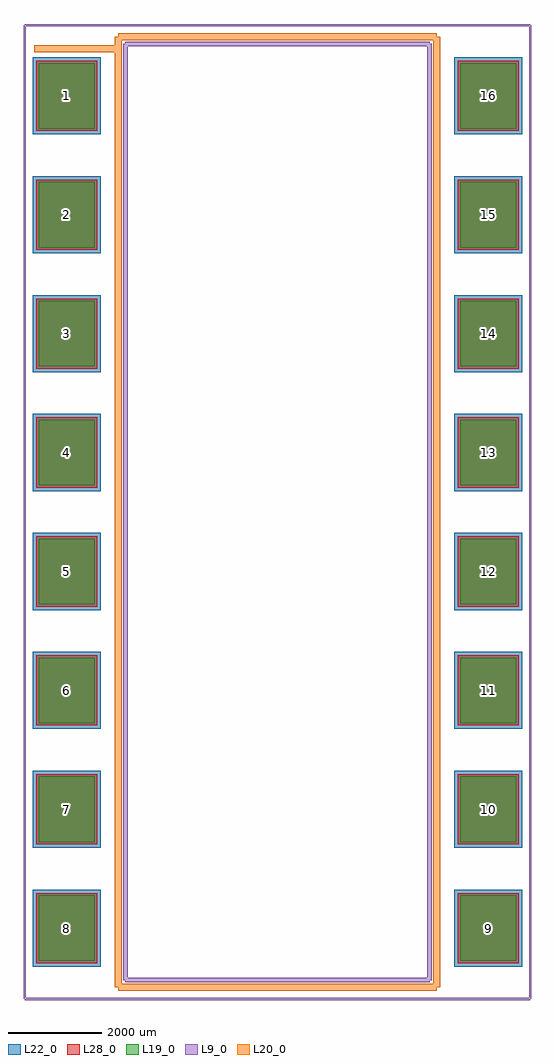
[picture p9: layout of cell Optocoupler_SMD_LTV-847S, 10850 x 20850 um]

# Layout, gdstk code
import gdstk
lib = gdstk.Library(unit=1e-6, precision=1e-09)
def R(c, l, rs):  # rectangles x0, y0, x1, y1
    for r in rs: c.add(gdstk.rectangle(r[:2], r[2:], *l))
def A(c, l, x, y, w, h, nx, ny, dx, dy):  # array of equal rectangles
    R(c, l, [(x+i*dx, y+j*dy, x+i*dx+w, y+j*dy+h) for i in range(nx) for j in range(ny)])
L9_0 = (9, 0)
L19_0 = (19, 0)
L20_0 = (20, 0)
L22_0 = (22, 0)
L28_0 = (28, 0)

optocoupler_smd_ltv_847s = lib.new_cell('Optocoupler_SMD_LTV-847S')
A(optocoupler_smd_ltv_847s, L19_0, -5100, -9590, 1200, 1400, 1, 8, 0, 2540)
A(optocoupler_smd_ltv_847s, L19_0, 3900, -9590, 1200, 1400, 1, 8, 0, 2540)
A(optocoupler_smd_ltv_847s, L22_0, -5225, -9715, 1450, 1650, 1, 8, 0, 2540)
A(optocoupler_smd_ltv_847s, L22_0, 3775, -9715, 1450, 1650, 1, 8, 0, 2540)
A(optocoupler_smd_ltv_847s, L28_0, -5150, -9640, 1300, 1500, 1, 8, 0, 2540)
A(optocoupler_smd_ltv_847s, L28_0, 3850, -9640, 1300, 1500, 1, 8, 0, 2540)
optocoupler_smd_ltv_847s.add(gdstk.FlexPath([(-3250,10000),(3250,10000)], 100, ends="flush", simple_path=True, layer=9, datatype=0))  # L9_0
optocoupler_smd_ltv_847s.add(gdstk.FlexPath([(3250,10000),(3250,-10000)], 100, ends="flush", simple_path=True, layer=9, datatype=0))  # L9_0
optocoupler_smd_ltv_847s.add(gdstk.FlexPath([(3250,-10000),(-3250,-10000)], 100, ends="flush", simple_path=True, layer=9, datatype=0))  # L9_0
optocoupler_smd_ltv_847s.add(gdstk.FlexPath([(-3250,-10000),(-3250,10000)], 100, ends="flush", simple_path=True, layer=9, datatype=0))  # L9_0
optocoupler_smd_ltv_847s.add(gdstk.FlexPath([(3400,10150),(-3400,10150)], 149.998, ends="flush", simple_path=True, layer=20, datatype=0))  # L20_0
optocoupler_smd_ltv_847s.add(gdstk.FlexPath([(3400,-10150),(-3400,-10150)], 149.998, ends="flush", simple_path=True, layer=20, datatype=0))  # L20_0
optocoupler_smd_ltv_847s.add(gdstk.FlexPath([(-3400,-10150),(-3400,10150)], 149.998, ends="flush", simple_path=True, layer=20, datatype=0))  # L20_0
optocoupler_smd_ltv_847s.add(gdstk.FlexPath([(3400,10150),(3400,-10150)], 149.998, ends="flush", simple_path=True, layer=20, datatype=0))  # L20_0
optocoupler_smd_ltv_847s.add(gdstk.FlexPath([(-5400,-10400),(5400,-10400)], 50, ends="flush", simple_path=True, layer=9, datatype=0))  # L9_0
optocoupler_smd_ltv_847s.add(gdstk.FlexPath([(5400,-10400),(5400,10400)], 50, ends="flush", simple_path=True, layer=9, datatype=0))  # L9_0
optocoupler_smd_ltv_847s.add(gdstk.FlexPath([(5400,10400),(-5400,10400)], 50, ends="flush", simple_path=True, layer=9, datatype=0))  # L9_0
optocoupler_smd_ltv_847s.add(gdstk.FlexPath([(-5400,10400),(-5400,-10400)], 50, ends="flush", simple_path=True, layer=9, datatype=0))  # L9_0
optocoupler_smd_ltv_847s.add(gdstk.FlexPath([(-3400,9900),(-5200,9900)], 149.998, ends="flush", simple_path=True, layer=20, datatype=0))  # L20_0
optocoupler_smd_ltv_847s.add(gdstk.Label('1', (-4500,8890), layer=28, texttype=0))
optocoupler_smd_ltv_847s.add(gdstk.Label('2', (-4500,6350), layer=28, texttype=0))
optocoupler_smd_ltv_847s.add(gdstk.Label('3', (-4500,3810), layer=28, texttype=0))
optocoupler_smd_ltv_847s.add(gdstk.Label('4', (-4500,1270), layer=28, texttype=0))
optocoupler_smd_ltv_847s.add(gdstk.Label('5', (-4500,-1270), layer=28, texttype=0))
optocoupler_smd_ltv_847s.add(gdstk.Label('6', (-4500,-3810), layer=28, texttype=0))
optocoupler_smd_ltv_847s.add(gdstk.Label('7', (-4500,-6350), layer=28, texttype=0))
optocoupler_smd_ltv_847s.add(gdstk.Label('8', (-4500,-8890), layer=28, texttype=0))
optocoupler_smd_ltv_847s.add(gdstk.Label('9', (4500,-8890), layer=28, texttype=0))
optocoupler_smd_ltv_847s.add(gdstk.Label('10', (4500,-6350), layer=28, texttype=0))
optocoupler_smd_ltv_847s.add(gdstk.Label('11', (4500,-3810), layer=28, texttype=0))
optocoupler_smd_ltv_847s.add(gdstk.Label('12', (4500,-1270), layer=28, texttype=0))
optocoupler_smd_ltv_847s.add(gdstk.Label('13', (4500,1270), layer=28, texttype=0))
optocoupler_smd_ltv_847s.add(gdstk.Label('14', (4500,3810), layer=28, texttype=0))
optocoupler_smd_ltv_847s.add(gdstk.Label('15', (4500,6350), layer=28, texttype=0))
optocoupler_smd_ltv_847s.add(gdstk.Label('16', (4500,8890), layer=28, texttype=0))
optocoupler_smd_ltv_847s.add(gdstk.Label('type', (0,-11400), layer=9, texttype=0))
optocoupler_smd_ltv_847s.add(gdstk.Label('devicename', (0,11200), layer=9, texttype=0))

lib.write_gds('Optocoupler_SMD_LTV-847S.gds')
